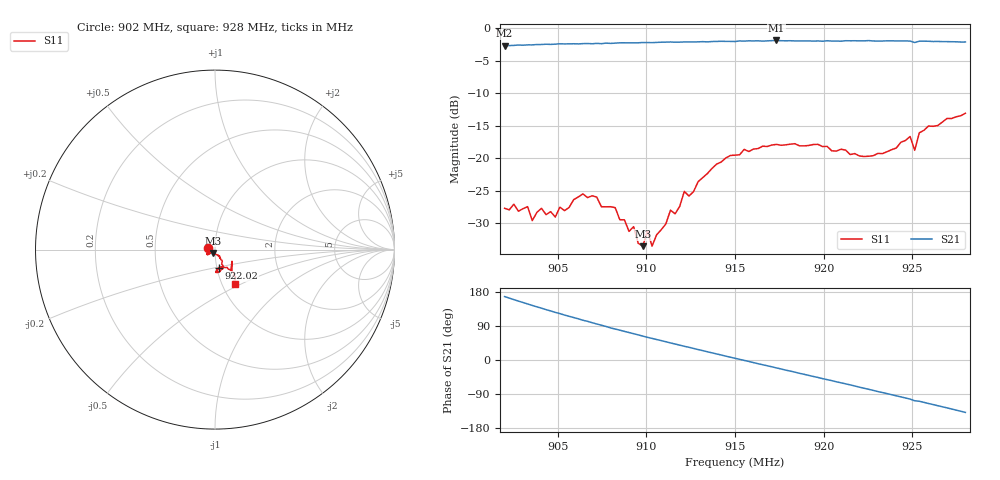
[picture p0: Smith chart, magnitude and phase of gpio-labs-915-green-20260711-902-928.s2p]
# HZ S RI R 50
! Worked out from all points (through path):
!   101 points, 902 MHz to 928 MHz, reference 50 ohm
!   highest |S21| = -1.86 dB at 917.34 MHz (marker M1); lowest = -2.7 dB at 902 MHz (marker M2)
!   group delay of S21, straight-line fit = 31.8 ns
!   lowest |S11| = -33.6 dB at 909.8 MHz (marker M3), VSWR 1.04, Z = 49.1 - j1.86 ohm
!   |S11| at or under -10 dB: start of sweep to end of sweep
!   S12 and S22 are empty: the file has one direction only
!   S11 on the Smith chart (normalised r, x): 902 MHz: 0.92, +0.01; 922.02 MHz: 1.02, -0.21; 928 MHz: 1.14, -0.46
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9.02e8  -0.0403 0.00788  -0.717 0.16  0 0  0 0
9.033e8  -0.0422 -0.00331  -0.6321 0.3968  0 0  0 0
9.0356e8  -0.0326 -0.00497  -0.6036 0.4385  0 0  0 0
9.0486e8  -0.0307 -0.0172  -0.4402 0.6143  0 0  0 0
9.0642e8  -0.0463 -0.0258  -0.1961 0.7373  0 0  0 0
9.0824e8  -0.0345 -0.0232  0.1106 0.7616  0 0  0 0
9.098e8  -0.00899 -0.0189  0.3529 0.6936  0 0  0 0
9.1006e8  -0.014 -0.0236  0.3902 0.673  0 0  0 0
9.1032e8  -0.0016 -0.0209  0.4228 0.6513  0 0  0 0
9.1084e8  0.00561 -0.0275  0.4909 0.6092  0 0  0 0
9.1214e8  0.0293 -0.0471  0.6345 0.4643  0 0  0 0
9.124e8  0.0248 -0.0446  0.6548 0.4347  0 0  0 0
9.15e8  0.0439 -0.0959  0.7894 0.0644  0 0  0 0
9.1734e8  0.0208 -0.1259  0.754 -0.288  0 0  0 0
9.1942e8  0.0122 -0.1268  0.5798 -0.5485  0 0  0 0
9.2202e8  0.0222 -0.1015  0.2519 -0.7611  0 0  0 0
9.2384e8  0.058 -0.1007  -0.022 -0.8016  0 0  0 0
9.2488e8  0.0882 -0.1173  -0.1821 -0.7775  0 0  0 0
9.2514e8  0.0946 -0.0652  -0.2355 -0.7418  0 0  0 0
9.254e8  0.0947 -0.1248  -0.2576 -0.7539  0 0  0 0
9.2592e8  0.1072 -0.1407  -0.3344 -0.7221  0 0  0 0
9.28e8  0.1087 -0.1933  -0.586 -0.5229  0 0  0 0
